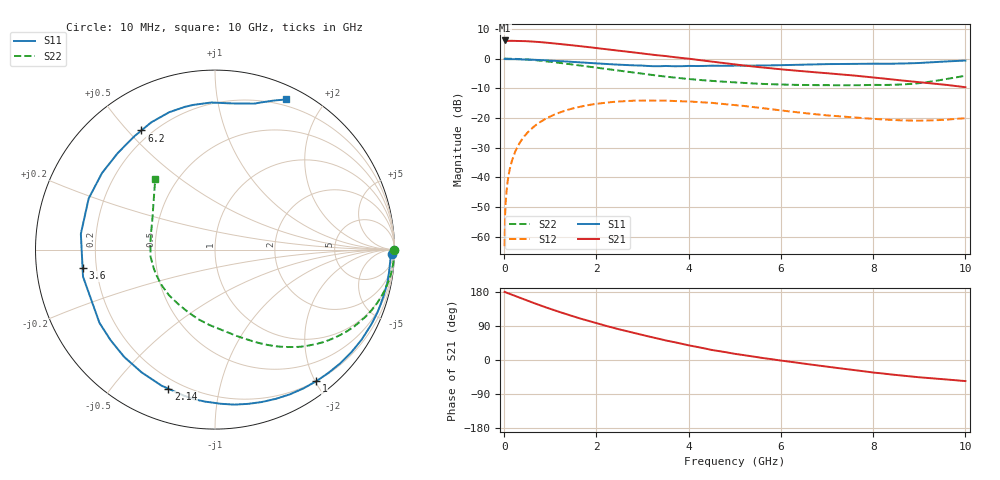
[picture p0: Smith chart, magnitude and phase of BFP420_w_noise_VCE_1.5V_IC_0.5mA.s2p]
! Infineon Technologies  Discrete & RF Semiconductors
! BFP420
! VCE =  1.5 V,  IC =  0.5 mA
! Common Emitter S-Parameters:  Jan 2016
# GHz  S  MA  R  50
!  f  S11  S21  S12  S22
! GHz  MAG  ANG  MAG  ANG  MAG  ANG  MAG  ANG
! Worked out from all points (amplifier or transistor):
!   233 points, 10 MHz to 10 GHz, reference 50 ohm
!   highest |S21| = 6.1 dB at 10 MHz (marker M1)
!   |S21| within 3 dB of that: start of sweep to 2.251 GHz
!   unconditionally stable (mu >= 1): 4.326 GHz to end of sweep
!   at 200 MHz: K = 0.01, MSG = 19.4 dB, |S12| = -32.9 dB
!   at 1.74 GHz: K = 0.30, MSG = 9.9 dB, |S12| = -15.9 dB
!   at 10 GHz: K = 1.55, MAG = 0.8 dB, |S12| = -20.1 dB
!   lowest NFmin = 0.68 dB at 900 MHz
!   S11 on the Smith chart (normalised r, x): 10 MHz: 38, -57; 1 GHz: 0.20, -2.02; 2.14 GHz: 0.15, -0.71; 3.6 GHz: 0.15, -0.07; 6.2 GHz: 0.16, +0.55; 10 GHz: 0.13, +1.57
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0.01  0.9839 -1.4  2.016 179.6  0.0007 83.6  0.9984 -0.2
0.015  0.9814 -1.2  1.988 179.5  0.0015 88.9  0.9982 -0.4
0.02  0.9789 -1.0  1.961 179.4  0.0023 90.5  0.9981 -0.6
0.03  0.979 -1.5  1.964 178.8  0.0034 89.5  0.9981 -0.9
0.055  0.9793 -2.9  1.972 177.5  0.0062 88.4  0.9981 -1.7
0.105  0.9774 -5.6  1.987 175.3  0.0119 86.7  0.9971 -3.3
0.19  0.9777 -10.0  1.99 171.3  0.0216 83.8  0.9933 -6.0
0.32  0.9728 -16.7  1.981 165.3  0.0362 79.4  0.984 -10.0
0.5  0.9645 -26.2  1.957 156.9  0.0562 73.2  0.9645 -15.4
1  0.9254 -52.4  1.829 134.9  0.1063 56.3  0.8841 -29.2
1.32  0.8954 -68.8  1.722 122.0  0.1329 46.1  0.8245 -36.8
1.68  0.8613 -86.8  1.606 108.4  0.157 35.3  0.7583 -44.4
2.14  0.8173 -108.6  1.459 92.5  0.1789 22.6  0.6796 -53.0
2.78  0.7707 -138.1  1.276 72.1  0.1951 6.4  0.5828 -63.9
3.4  0.745 -164.2  1.121 54.7  0.1957 -7.4  0.5078 -73.9
3.6  0.7449 -172.0  1.077 49.3  0.1944 -11.3  0.4875 -77.3
4.5  0.7592 158.0  0.893 26.5  0.18 -27.0  0.4216 -94.1
5.1  0.759 143.7  0.781 14.6  0.1628 -34.9  0.3935 -105.7
6.2  0.7802 121.7  0.639 -4.6  0.1289 -43.4  0.3624 -128.7
6.8  0.7994 111.6  0.583 -14.4  0.115 -44.4  0.3572 -142.3
8.4  0.819 84.3  0.446 -38.3  0.0929 -39.4  0.3617 174.0
10  0.9259 64.6  0.33 -55.6  0.0994 -26.9  0.5146 130.3
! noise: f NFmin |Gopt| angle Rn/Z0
0.9  0.68  0.78  35  0.65
1.8  1.42  0.6  75  0.5
2.4  1.57  0.58  98  0.37
3  2.1  0.58  128  0.24
4  2.49  0.57  177  0.09
